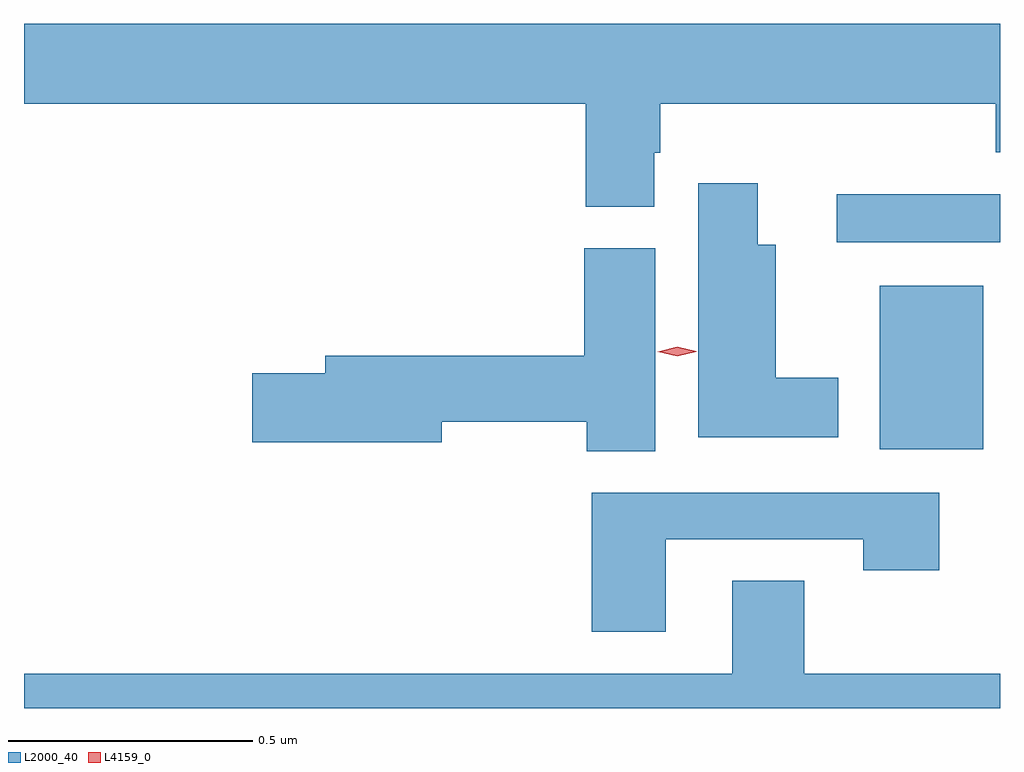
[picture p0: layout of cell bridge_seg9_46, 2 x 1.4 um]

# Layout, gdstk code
import gdstk
lib = gdstk.Library(unit=1e-6, precision=1e-09)
def R(c, l, rs):  # rectangles x0, y0, x1, y1
    for r in rs: c.add(gdstk.rectangle(r[:2], r[2:], *l))
def P(c, l, *ps):  # polygons
    for p in ps: c.add(gdstk.Polygon(p, *l))
L2000_40 = (2000, 40)
L4159_0 = (4159, 0)

bridge_seg9_46 = lib.new_cell('bridge_seg9_46')
R(bridge_seg9_46, L2000_40, [(914.318,1201.04,914.53,1201.375), (914.229,1201.464,914.564,1201.562)])
P(bridge_seg9_46, L2000_40, [(913.855,1201.647),(913.868,1201.647),(913.868,1201.748),(914.555,1201.748),(914.555,1201.649),(914.564,1201.649),(914.564,1201.912),(912.564,1201.912),(912.564,1201.748),(913.715,1201.748),(913.715,1201.537),(913.855,1201.537)],
  [(914.233,1201.186),(914.104,1201.186),(914.104,1201.459),(914.068,1201.459),(914.068,1201.585),(913.946,1201.585),(913.946,1201.064),(914.233,1201.064)],
  [(913.858,1201.452),(913.712,1201.452),(913.712,1201.232),(913.181,1201.232),(913.181,1201.196),(913.032,1201.196),(913.032,1201.054),(913.42,1201.054),(913.42,1201.096),(913.717,1201.096),(913.717,1201.036),(913.858,1201.036)],
  [(913.879,1200.855),(914.284,1200.855),(914.284,1200.792),(914.44,1200.792),(914.44,1200.951),(913.727,1200.951),(913.727,1200.666),(913.879,1200.666)],
  [(914.564,1200.58),(914.163,1200.58),(914.163,1200.77),(914.015,1200.77),(914.015,1200.58),(912.564,1200.58),(912.564,1200.509),(914.564,1200.509)])
P(bridge_seg9_46, L4159_0, [(913.903,1201.23),(913.863,1201.24),(913.863,1201.24),(913.863,1201.24),(913.903,1201.25),(913.942,1201.241),(913.942,1201.24),(913.942,1201.24)])

lib.write_gds('bridge_seg9_46.gds')
